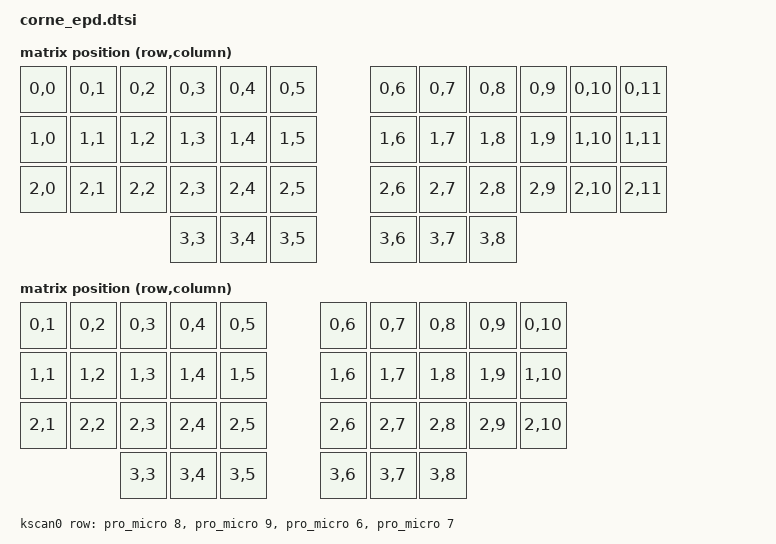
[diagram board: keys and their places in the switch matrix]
/*
 * Copyright (c) 2020 Pete Johanson
 *
 * SPDX-License-Identifier: MIT
 */

#include <dt-bindings/zmk/matrix_transform.h>

/ {
    chosen {
        zephyr,display = &shield_epd;
        zmk,kscan = &kscan0;
        zmk,matrix_transform = &default_transform;
    };

    default_transform: keymap_transform_0 {
        compatible = "zmk,matrix-transform";
        columns = <12>;
        rows = <4>;
// | SW1  | SW2  | SW3  | SW4  | SW5  | SW6  |   | SW6  | SW5  | SW4  | SW3  | SW2  | SW1  |
// | SW7  | SW8  | SW9  | SW10 | SW11 | SW12 |   | SW12 | SW11 | SW10 | SW9  | SW8  | SW7  |
// | SW13 | SW14 | SW15 | SW16 | SW17 | SW18 |   | SW18 | SW17 | SW16 | SW15 | SW14 | SW13 |
//                      | SW19 | SW20 | SW21 |   | SW21 | SW20 | SW19 |
        map = <
RC(0,0) RC(0,1) RC(0,2) RC(0,3) RC(0,4) RC(0,5)  RC(0,6) RC(0,7) RC(0,8) RC(0,9) RC(0,10) RC(0,11)
RC(1,0) RC(1,1) RC(1,2) RC(1,3) RC(1,4) RC(1,5)  RC(1,6) RC(1,7) RC(1,8) RC(1,9) RC(1,10) RC(1,11)
RC(2,0) RC(2,1) RC(2,2) RC(2,3) RC(2,4) RC(2,5)  RC(2,6) RC(2,7) RC(2,8) RC(2,9) RC(2,10) RC(2,11)
                        RC(3,3) RC(3,4) RC(3,5)  RC(3,6) RC(3,7) RC(3,8)
        >;
    };

    five_column_transform: keymap_transform_1 {
        compatible = "zmk,matrix-transform";
        columns = <10>;
        rows = <4>;
// | SW2  | SW3  | SW4  | SW5  | SW6  |   | SW6  | SW5  | SW4  | SW3  | SW2  |
// | SW8  | SW9  | SW10 | SW11 | SW12 |   | SW12 | SW11 | SW10 | SW9  | SW8  |
// | SW14 | SW15 | SW16 | SW17 | SW18 |   | SW18 | SW17 | SW16 | SW15 | SW14 |
//                      | SW19 | SW20 | SW21 |   | SW21 | SW20 | SW19 |
        map = <
RC(0,1) RC(0,2) RC(0,3) RC(0,4) RC(0,5)  RC(0,6) RC(0,7) RC(0,8) RC(0,9) RC(0,10)
RC(1,1) RC(1,2) RC(1,3) RC(1,4) RC(1,5)  RC(1,6) RC(1,7) RC(1,8) RC(1,9) RC(1,10)
RC(2,1) RC(2,2) RC(2,3) RC(2,4) RC(2,5)  RC(2,6) RC(2,7) RC(2,8) RC(2,9) RC(2,10)
                        RC(3,3) RC(3,4) RC(3,5)  RC(3,6) RC(3,7) RC(3,8)
        >;
    };

    kscan0: kscan {
        compatible = "zmk,kscan-gpio-matrix";
        label = "KSCAN";

        diode-direction = "col2row";
        row-gpios
            = <&pro_micro 8 (GPIO_ACTIVE_HIGH | GPIO_PULL_DOWN)>
            , <&pro_micro 9 (GPIO_ACTIVE_HIGH | GPIO_PULL_DOWN)>
            , <&pro_micro 6 (GPIO_ACTIVE_HIGH | GPIO_PULL_DOWN)>
            , <&pro_micro 7 (GPIO_ACTIVE_HIGH | GPIO_PULL_DOWN)>
            ;

    };

    // TODO: per-key RGB node(s)?
};

// &pro_micro_i2c {
//     status = "okay";
//     oled: ssd1306@3c {
//         compatible = "solomon,ssd1306fb";
//         reg = <0x3c>;
//         label = "DISPLAY";
//         width = <128>;
//         height = <64>;
//         segment-offset = <0>;
//         page-offset = <0>;
//         display-offset = <0>;
//         multiplex-ratio = <63>;
//         //segment-remap;
//         com-invdir;  
//         //com-sequential;
//         prechargep = <0x22>;
//     };
// }; 


/* display */
&pro_micro_spi {
    // &spi2 {
      compatible = "nordic,nrf-spim";
      sck-pin = <22>;  //scl 22
      mosi-pin = <24>; // sda 24
      cs-gpios = <&gpio0 20 GPIO_ACTIVE_LOW>; //20
      // not used, but required by spim binding; can be reuesd in the keymap for normal key press
      miso-pin = <10>;    
      // activate this device
      status = "okay";   

      shield_epd: ssd16xx@0 {  //todo  il0323@0 try 0
        status = "okay";   
        compatible = "solomon,ssd1681";//todo
        reg = <0>;  //todo  reg = <0>
    // shield_epd: ssd16xx@0 {  //todo  il0323@0 try 0
    //     compatible = "solomon,ssd1681";//todo
    //     reg = <0>;  //todo  reg = <0>
        label = "DISPLAY";
        spi-max-frequency = <4000000>;
        // interrupts = ;
        height = <200>;
        width = <200>;
        sck-pin = <22>;  //scl 22 <&gpio0 22 GPIO_ACTIVE_LOW>; 
        mosi-pin = <24>; // sda 24  <&gpio0 24 GPIO_ACTIVE_LOW>; 
        cs-gpios = <&gpio0 20 GPIO_ACTIVE_LOW>; //20
        reset-gpios = <&gpio0 8  GPIO_ACTIVE_LOW>;
        dc-gpios    = <&gpio0 17 GPIO_ACTIVE_LOW>; //17
        busy-gpios  = <&gpio0 6  GPIO_ACTIVE_LOW>;
        // pwr = [03 00 26 26];  //todo  Power Setting (PWR) values
        // cdi = <0xd2>;         //todo  VCOM and data interval value
        // tcon = <0x22>;        //todo  TCON setting value
      }; 
    };
    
